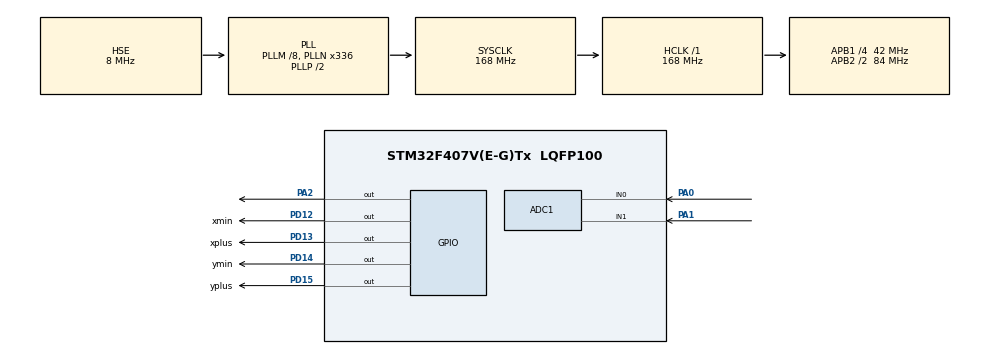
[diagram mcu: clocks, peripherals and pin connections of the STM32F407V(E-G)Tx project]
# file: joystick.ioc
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ADC1.Channel-0\#ChannelRegularConversion=ADC_CHANNEL_1
ADC1.Channel-1\#ChannelRegularConversion=ADC_CHANNEL_0
ADC1.ContinuousConvMode=ENABLE
ADC1.DMAContinuousRequests=ENABLE
ADC1.NbrOfConversion=2
ADC1.NbrOfConversionFlag=1
ADC1.Rank-0\#ChannelRegularConversion=1
ADC1.Rank-1\#ChannelRegularConversion=2
ADC1.SamplingTime-0\#ChannelRegularConversion=ADC_SAMPLETIME_480CYCLES
ADC1.SamplingTime-1\#ChannelRegularConversion=ADC_SAMPLETIME_480CYCLES
ADC1.master=1
Dma.ADC1.0.Direction=DMA_PERIPH_TO_MEMORY
Dma.ADC1.0.FIFOMode=DMA_FIFOMODE_DISABLE
Dma.ADC1.0.Instance=DMA2_Stream0
Dma.ADC1.0.MemDataAlignment=DMA_MDATAALIGN_WORD
Dma.ADC1.0.MemInc=DMA_MINC_ENABLE
Dma.ADC1.0.Mode=DMA_CIRCULAR
Dma.ADC1.0.PeriphDataAlignment=DMA_PDATAALIGN_WORD
Dma.ADC1.0.PeriphInc=DMA_PINC_DISABLE
Dma.ADC1.0.Priority=DMA_PRIORITY_LOW
Dma.Request0=ADC1
Mcu.Family=STM32F4
Mcu.Name=STM32F407V(E-G)Tx
Mcu.Package=LQFP100
NVIC.ADC_IRQn=true\:0\:0\:false\:false\:true\:true\:true
NVIC.DMA2_Stream0_IRQn=true\:0\:0\:false\:false\:true\:false\:true
NVIC.PriorityGroup=NVIC_PRIORITYGROUP_0
PA0-WKUP.Signal=ADCx_IN0
PA1.Signal=ADCx_IN1
PA2.Signal=GPIO_Output
PD12.GPIO_Label=xmin
PD12.Signal=GPIO_Output
PD13.GPIO_Label=xplus
PD13.Signal=GPIO_Output
PD14.GPIO_Label=ymin
PD14.Signal=GPIO_Output
PD15.GPIO_Label=yplus
PD15.Signal=GPIO_Output
PH0-OSC_IN.Mode=HSE-External-Oscillator
PH0-OSC_IN.Signal=RCC_OSC_IN
PH1-OSC_OUT.Mode=HSE-External-Oscillator
PH1-OSC_OUT.Signal=RCC_OSC_OUT
ProjectManager.HeapSize=0x200
ProjectManager.StackSize=0x400
ProjectManager.TargetToolchain=MDK-ARM V5
RCC.48MHZClocksFreq_Value=48000000
RCC.AHBFreq_Value=168000000
RCC.APB1CLKDivider=RCC_HCLK_DIV4
RCC.APB1Freq_Value=42000000
RCC.APB1TimFreq_Value=84000000
RCC.APB2CLKDivider=RCC_HCLK_DIV2
RCC.APB2Freq_Value=84000000
RCC.APB2TimFreq_Value=168000000
RCC.CortexFreq_Value=168000000
RCC.HCLKFreq_Value=168000000
RCC.HSE_VALUE=8000000
RCC.HSI_VALUE=16000000
RCC.LSE_VALUE=32768
RCC.PLLM=8
RCC.PLLN=336
RCC.PLLQ=7
RCC.PLLSourceVirtual=RCC_PLLSOURCE_HSE
RCC.SYSCLKFreq_VALUE=168000000
RCC.SYSCLKSource=RCC_SYSCLKSOURCE_PLLCLK
RCC.VCOOutputFreq_Value=336000000
SH.ADCx_IN0.0=ADC1_IN0,IN0
SH.ADCx_IN1.0=ADC1_IN1,IN1
VP_CRC_VS_CRC.Mode=CRC_Activate
board=STM32F407G-DISC1

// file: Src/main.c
/* USER CODE BEGIN Header */
/**
  ******************************************************************************
  * @file           : main.c
  * @brief          : Main program body
  ******************************************************************************
  * @attention
  *
  * <h2><center>&copy; Copyright (c) 2020 STMicroelectronics.
  * All rights reserved.</center></h2>
  *
  * This software component is licensed by ST under BSD 3-Clause license,
  * the "License"; You may not use this file except in compliance with the
  * License. You may obtain a copy of the License at:
  *                        opensource.org/licenses/BSD-3-Clause
  *
  ******************************************************************************
  */
/* USER CODE END Header */
#include "main.h"

ADC_HandleTypeDef hadc1;
DMA_HandleTypeDef hdma_adc1;

CRC_HandleTypeDef hcrc;

void SystemClock_Config(void);
static void MX_GPIO_Init(void);
static void MX_DMA_Init(void);
static void MX_ADC1_Init(void);
static void MX_CRC_Init(void);

/* USER CODE BEGIN 0 */
uint32_t adc_value[2];

/* USER CODE END 0 */

int main(void)
{

  /* MCU Configuration--------------------------------------------------------*/

  /* Reset of all peripherals, Initializes the Flash interface and the Systick. */
  HAL_Init();

  /* Configure the system clock */
  SystemClock_Config();

  /* Initialize all configured peripherals */
  MX_GPIO_Init();
  MX_DMA_Init();
  MX_ADC1_Init();
  MX_CRC_Init();
  /* USER CODE BEGIN 2 */

		HAL_ADC_Start_DMA(&hadc1,(uint32_t*)adc_value,2);
  /* USER CODE END 2 */

  /* Infinite loop */
  /* USER CODE BEGIN WHILE */
  while (1)
  {
//		 HAL_ADC_Start(&hadc1);// start the ADC
//		 HAL_ADC_PollForConversion(&hadc1,100);
//		 HAL_ADC_GetValue(&hadc1);
//
//		 HAL_ADC_PollForConversion(&hadc1,100);
//		 HAL_ADC_GetValue(&hadc1);

//	 HAL_ADC_Stop(&hadc1); // stop the adc
//	 HAL_Delay(200); // 200ms delay before starting adc again
    /* USER CODE END WHILE */

    /* USER CODE BEGIN 3 */
//		HAL_GPIO_WritePin(xplus_GPIO_Port, xplus_Pin, GPIO_PIN_SET);
//		HAL_Delay(1000);
//		HAL_GPIO_WritePin(xplus_GPIO_Port, xplus_Pin, GPIO_PIN_RESET);
//		HAL_Delay(1000);

		//xmin lampu kuning
		//ymin lampu merah
		//yplus lampu biru
		//xplus lampu oranye

//		if (HAL_GPIO_ReadPin(GPIOA, GPIO_PIN_2)==GPIO_PIN_SET)
//	 {
//		HAL_GPIO_WritePin(xmin_GPIO_Port, xmin_Pin, GPIO_PIN_SET);
//		HAL_GPIO_WritePin(xplus_GPIO_Port, xplus_Pin, GPIO_PIN_SET);
//		HAL_GPIO_WritePin(ymin_GPIO_Port, ymin_Pin, GPIO_PIN_SET);
//		HAL_GPIO_WritePin(yplus_GPIO_Port, yplus_Pin, GPIO_PIN_SET);
//	 }

		if ((adc_value[1]>=2000) && (adc_value[1]<=3100))
	 {
		HAL_GPIO_WritePin(xmin_GPIO_Port, xmin_Pin, GPIO_PIN_RESET);
		HAL_GPIO_WritePin(xplus_GPIO_Port, xplus_Pin, GPIO_PIN_RESET);
		HAL_GPIO_WritePin(ymin_GPIO_Port, ymin_Pin, GPIO_PIN_RESET);
		HAL_GPIO_WritePin(yplus_GPIO_Port, yplus_Pin, GPIO_PIN_RESET);
	 }

		if ((adc_value[0]>=2000) && (adc_value[0]<=3100))
	 {
		HAL_GPIO_WritePin(ymin_GPIO_Port, ymin_Pin, GPIO_PIN_RESET);
		HAL_GPIO_WritePin(yplus_GPIO_Port, yplus_Pin, GPIO_PIN_RESET);
		HAL_GPIO_WritePin(xmin_GPIO_Port, xmin_Pin, GPIO_PIN_RESET);
		HAL_GPIO_WritePin(xplus_GPIO_Port, xplus_Pin, GPIO_PIN_RESET);
	 }

	 if ((adc_value[0]>=3100))
	 {
		HAL_GPIO_WritePin(xmin_GPIO_Port, xmin_Pin, GPIO_PIN_RESET);
		HAL_GPIO_WritePin(xplus_GPIO_Port, xplus_Pin, GPIO_PIN_SET);
		HAL_GPIO_WritePin(ymin_GPIO_Port, ymin_Pin, GPIO_PIN_RESET);
		HAL_GPIO_WritePin(yplus_GPIO_Port, yplus_Pin, GPIO_PIN_RESET);
	 }

	 if ((adc_value[0]<=800))//KETUKAR
	 {
		HAL_GPIO_WritePin(ymin_GPIO_Port, ymin_Pin, GPIO_PIN_RESET);
		HAL_GPIO_WritePin(yplus_GPIO_Port, yplus_Pin, GPIO_PIN_SET);
		HAL_GPIO_WritePin(xmin_GPIO_Port, xmin_Pin, GPIO_PIN_RESET);
		HAL_GPIO_WritePin(xplus_GPIO_Port, xplus_Pin, GPIO_PIN_RESET);
	 }

	 if ((adc_value[1]>=3100))//ERROR
	 {
		HAL_GPIO_WritePin(xmin_GPIO_Port, xmin_Pin, GPIO_PIN_SET);
		HAL_GPIO_WritePin(xplus_GPIO_Port, xplus_Pin, GPIO_PIN_RESET);
		HAL_GPIO_WritePin(ymin_GPIO_Port, ymin_Pin, GPIO_PIN_RESET);
		HAL_GPIO_WritePin(yplus_GPIO_Port, yplus_Pin, GPIO_PIN_RESET);
	 }

	 if ((adc_value[1]<=800))
	 {
		HAL_GPIO_WritePin(ymin_GPIO_Port, ymin_Pin, GPIO_PIN_SET);
		HAL_GPIO_WritePin(yplus_GPIO_Port, yplus_Pin, GPIO_PIN_RESET);
		HAL_GPIO_WritePin(xmin_GPIO_Port, xmin_Pin, GPIO_PIN_RESET);
		HAL_GPIO_WritePin(xplus_GPIO_Port, xplus_Pin, GPIO_PIN_RESET);
	 }
  }
  /* USER CODE END 3 */
}

void SystemClock_Config(void)
{
  RCC_OscInitTypeDef RCC_OscInitStruct = {0};
  RCC_ClkInitTypeDef RCC_ClkInitStruct = {0};

  /** Configure the main internal regulator output voltage
  */
  __HAL_RCC_PWR_CLK_ENABLE();
  __HAL_PWR_VOLTAGESCALING_CONFIG(PWR_REGULATOR_VOLTAGE_SCALE1);
  /** Initializes the RCC Oscillators according to the specified parameters
  * in the RCC_OscInitTypeDef structure.
  */
  RCC_OscInitStruct.OscillatorType = RCC_OSCILLATORTYPE_HSE;
  RCC_OscInitStruct.HSEState = RCC_HSE_ON;
  RCC_OscInitStruct.PLL.PLLState = RCC_PLL_ON;
  RCC_OscInitStruct.PLL.PLLSource = RCC_PLLSOURCE_HSE;
  RCC_OscInitStruct.PLL.PLLM = 8;
  RCC_OscInitStruct.PLL.PLLN = 336;
  RCC_OscInitStruct.PLL.PLLP = RCC_PLLP_DIV2;
  RCC_OscInitStruct.PLL.PLLQ = 7;
  if (HAL_RCC_OscConfig(&RCC_OscInitStruct) != HAL_OK)
  {
    Error_Handler();
  }
  /** Initializes the CPU, AHB and APB buses clocks
  */
  RCC_ClkInitStruct.ClockType = RCC_CLOCKTYPE_HCLK|RCC_CLOCKTYPE_SYSCLK
                              |RCC_CLOCKTYPE_PCLK1|RCC_CLOCKTYPE_PCLK2;
  RCC_ClkInitStruct.SYSCLKSource = RCC_SYSCLKSOURCE_PLLCLK;
  RCC_ClkInitStruct.AHBCLKDivider = RCC_SYSCLK_DIV1;
  RCC_ClkInitStruct.APB1CLKDivider = RCC_HCLK_DIV4;
  RCC_ClkInitStruct.APB2CLKDivider = RCC_HCLK_DIV2;

  if (HAL_RCC_ClockConfig(&RCC_ClkInitStruct, FLASH_LATENCY_5) != HAL_OK)
  {
    Error_Handler();
  }
}

static void MX_ADC1_Init(void)
{

  ADC_ChannelConfTypeDef sConfig = {0};

  /** Configure the global features of the ADC (Clock, Resolution, Data Alignment and number of conversion)
  */
  hadc1.Instance = ADC1;
  hadc1.Init.ClockPrescaler = ADC_CLOCK_SYNC_PCLK_DIV4;
  hadc1.Init.Resolution = ADC_RESOLUTION_12B;
  hadc1.Init.ScanConvMode = ENABLE;
  hadc1.Init.ContinuousConvMode = ENABLE;
  hadc1.Init.DiscontinuousConvMode = DISABLE;
  hadc1.Init.ExternalTrigConvEdge = ADC_EXTERNALTRIGCONVEDGE_NONE;
  hadc1.Init.ExternalTrigConv = ADC_SOFTWARE_START;
  hadc1.Init.DataAlign = ADC_DATAALIGN_RIGHT;
  hadc1.Init.NbrOfConversion = 2;
  hadc1.Init.DMAContinuousRequests = ENABLE;
  hadc1.Init.EOCSelection = ADC_EOC_SINGLE_CONV;
  if (HAL_ADC_Init(&hadc1) != HAL_OK)
  {
    Error_Handler();
  }
  /** Configure for the selected ADC regular channel its corresponding rank in the sequencer and its sample time.
  */
  sConfig.Channel = ADC_CHANNEL_1;
  sConfig.Rank = 1;
  sConfig.SamplingTime = ADC_SAMPLETIME_480CYCLES;
  if (HAL_ADC_ConfigChannel(&hadc1, &sConfig) != HAL_OK)
  {
    Error_Handler();
  }
  /** Configure for the selected ADC regular channel its corresponding rank in the sequencer and its sample time.
  */
  sConfig.Channel = ADC_CHANNEL_0;
  sConfig.Rank = 2;
  if (HAL_ADC_ConfigChannel(&hadc1, &sConfig) != HAL_OK)
  {
    Error_Handler();
  }

}

static void MX_CRC_Init(void)
{

  hcrc.Instance = CRC;
  if (HAL_CRC_Init(&hcrc) != HAL_OK)
  {
    Error_Handler();
  }

}

static void MX_DMA_Init(void)
{

  /* DMA controller clock enable */
  __HAL_RCC_DMA2_CLK_ENABLE();

  /* DMA interrupt init */
  /* DMA2_Stream0_IRQn interrupt configuration */
  HAL_NVIC_SetPriority(DMA2_Stream0_IRQn, 0, 0);
  HAL_NVIC_EnableIRQ(DMA2_Stream0_IRQn);

}

static void MX_GPIO_Init(void)
{
  GPIO_InitTypeDef GPIO_InitStruct = {0};

  /* GPIO Ports Clock Enable */
  __HAL_RCC_GPIOH_CLK_ENABLE();
  __HAL_RCC_GPIOA_CLK_ENABLE();
  __HAL_RCC_GPIOD_CLK_ENABLE();

  /*Configure GPIO pin Output Level */
  HAL_GPIO_WritePin(GPIOA, GPIO_PIN_2, GPIO_PIN_RESET);

  /*Configure GPIO pin Output Level */
  HAL_GPIO_WritePin(GPIOD, xmin_Pin|xplus_Pin|ymin_Pin|yplus_Pin, GPIO_PIN_RESET);

  /*Configure GPIO pin : PA2 */
  GPIO_InitStruct.Pin = GPIO_PIN_2;
  GPIO_InitStruct.Mode = GPIO_MODE_OUTPUT_PP;
  GPIO_InitStruct.Pull = GPIO_NOPULL;
  GPIO_InitStruct.Speed = GPIO_SPEED_FREQ_LOW;
  HAL_GPIO_Init(GPIOA, &GPIO_InitStruct);

  /*Configure GPIO pins : xmin_Pin xplus_Pin ymin_Pin yplus_Pin */
  GPIO_InitStruct.Pin = xmin_Pin|xplus_Pin|ymin_Pin|yplus_Pin;
  GPIO_InitStruct.Mode = GPIO_MODE_OUTPUT_PP;
  GPIO_InitStruct.Pull = GPIO_NOPULL;
  GPIO_InitStruct.Speed = GPIO_SPEED_FREQ_LOW;
  HAL_GPIO_Init(GPIOD, &GPIO_InitStruct);

}

void Error_Handler(void)
{
}

/************************ (C) COPYRIGHT STMicroelectronics *****END OF FILE****/
